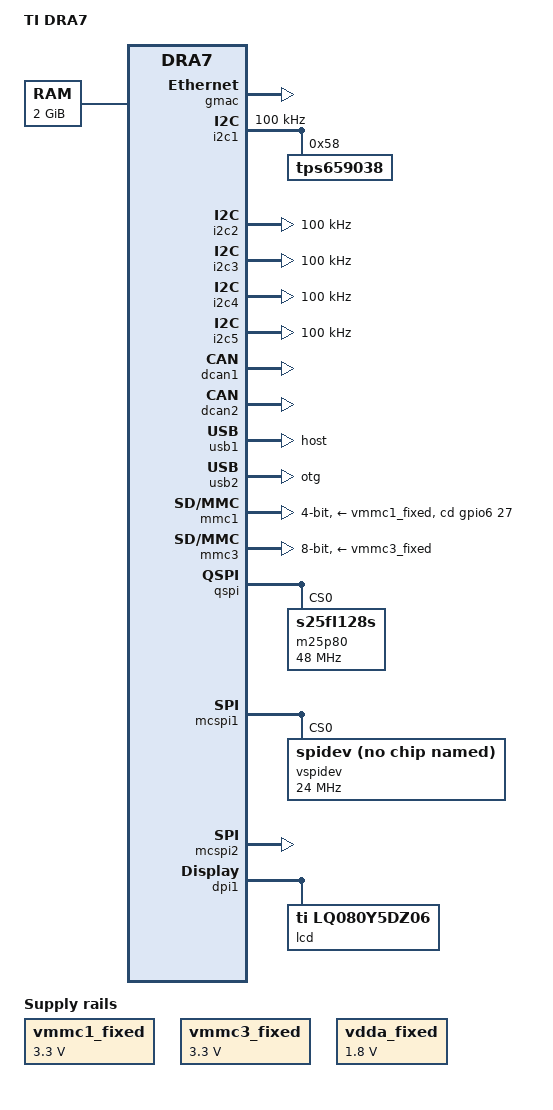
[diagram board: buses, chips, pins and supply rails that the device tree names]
/*
 * Copyright (C) 2013 Texas Instruments Incorporated - http://www.ti.com/
 *
 * This program is free software; you can redistribute it and/or modify
 * it under the terms of the GNU General Public License version 2 as
 * published by the Free Software Foundation.
 */
/dts-v1/;

/*
 * Memory is reserved for ipu1 for rearview camera
 */
/memreserve/ 0x8E000000 0x1000000;
/memreserve/ 0xA0000000 0x1800000;

/include/ "dra7.dtsi"

/ {
	model = "TI DRA7";
	compatible = "ti,dra7-evm", "ti,dra7";

	cpus {
		cpu@0 {
			cpu0-supply = <&abb_mpu>;
		};
	};

	memory {
		device_type = "memory";
		reg = <0x80000000 0x80000000>; /* 2048 MB */
	};

	vmmc1_fixed: fixedregulator-mmc1 {
		compatible = "regulator-fixed";
		regulator-name = "vmmc1_fixed";
		regulator-min-microvolt = <3300000>;
		regulator-max-microvolt = <3300000>;
	};

	vmmc3_fixed: fixedregulator-mmc3 {
		compatible = "regulator-fixed";
		regulator-name = "vmmc3_fixed";
		regulator-min-microvolt = <3300000>;
		regulator-max-microvolt = <3300000>;
	};

	vdda_fixed: fixedregulator-vdda {
		compatible = "regulator-fixed";
		regulator-name = "vdda_fixed";
		regulator-min-microvolt = <1800000>;
		regulator-max-microvolt = <1800000>;
	};

	ocp {
		gpu: gpu@0x56000000 {
			gpu-supply = <&abb_gpu>;
		};
	};

	display_skipinit {
		skip_init =<1>;
	};

	sound {
		compatible = "ti,dra7-evm-sound";
		ti,model = "dra7evm";
		ti,always-on;

		/* Audio routing */
		ti,audio-routing =
			"LINE1L", "Line In",
			"LINE1R", "Line In",
			"MIC3L", "Mic Bias 2V",
			"MIC3R", "Mic Bias 2V",
			"Mic Bias 2V", "Main Mic",
			"Headphone", "HPLOUT",
			"Headphone", "HPROUT",
			"Line Out", "LLOUT",
			"Line Out", "RLOUT",
			"J3A LINE1L", "JAMR3 Stereo Aux In",
			"J3A LINE1R", "JAMR3 Stereo Aux In",
			"J3B LINE1L", "JAMR3 Mono Mic 1",
			"J3B LINE1R", "JAMR3 Mono Mic 2",
			"JAMR3 Line Out 1", "J3A LLOUT",
			"JAMR3 Line Out 1", "J3A RLOUT",
			"JAMR3 Line Out 2", "J3B LLOUT",
			"JAMR3 Line Out 2", "J3B RLOUT",
			"JAMR3 Line Out 3", "J3C LLOUT",
			"JAMR3 Line Out 3", "J3C RLOUT";

		/* Bluetooth */
		ti,bt-cpu = <&mcasp7>;
		ti,bt-bclk-freq = <512000>;
	};

};

&dra7_pmx_core {
        pinctrl-names = "default";
        pinctrl-0 = <
		&atl_pins
		&mcasp3_pins
		&mcasp6_pins
		&mcasp7_pins
		&mcasp8_pins
		&vout1_pins
		&usb_pins
		&irq_pins
		&qspi_pins
	>;

	i2c1_pins: pinmux_i2c1_pins {
		pinctrl-single,pins = <
			0x400 0x60000	/* i2c1_sda */
			0x404 0x60000	/* i2c1_scl */
		>;
	};

	atl_pins: pinmux_atl_pins {
		pinctrl-single,pins = <
			0x298 0x00000005	/* xref_clk1.atl_clk1 OUTPUT | MODE5 */
			0x29c 0x00000005	/* xref_clk2.atl_clk2 OUTPUT | MODE5 */
		>;
	};

	mcasp3_pins: pinmux_mcasp3_pins {
		pinctrl-single,pins = <
			0x324 0x00000180	/* mcasp3_aclkx.mcasp3_aclkx OUTPUT | MODE0 */
			0x328 0x00000180	/* mcasp3_fsx.mcasp3_fsx OUTPUT | MODE0 */
			0x32c 0x00000180	/* mcasp3_axr0.mcasp3_axr0 OUTPUT | MODE0 */
			0x330 0x00040160	/* mcasp3_axr1.mcasp3_axr1 INPUT | MODE0 */
		>;
	};

	mcasp6_pins: pinmux_mcasp6_pins {
		pinctrl-single,pins = <
			0x2d4 0x000001a1	/* mcasp1_axr8.mcasp6_axr0 OUTPUT | MODE1 */
			0x2d8 0x000401a1	/* mcasp1_axr9.mcasp6_axr1 INPUT | MODE 1 */
			0x2dc 0x000001a1	/* mcasp1_axr10.mcasp6_clkx OUTPUT | MODE1 */
			0x2e0 0x000001a1	/* mcasp1_axr11.mcasp6_fsx OUTPUT | MODE1 */
		>;
	};

	mcasp7_pins: pinmux_mcasp7_pins {
		pinctrl-single,pins = <
			0x2e4 0x000401a1	/* mcasp1_axr12.mcasp7_axr0 INPUT | MODE 1 */
			0x2e8 0x000001a1	/* mcasp1_axr13.mcasp7_axr1 OUTPUT | MODE 1 */
			0x2ec 0x000401a1	/* mcasp1_axr14.mcasp7_clkx INPUT | MODE1 */
			0x2f0 0x000401a1	/* mcasp1_axr15.mcasp7_fsx INPUT | MODE1 */
		>;
	};

	mcasp8_pins: pinmux_mcasp8_pins {
		pinctrl-single,pins = <
			0x2fc 0x00040001	/* mcasp2_aclkr.mcasp8_axr2 OUTPUT | MODE1 */
		>;
	};

	irq_pins: pinmux_irq_pins {
                pinctrl-single,pins = <
			0x420	0x1	/* Wakeup2 INPUT | MODE1 */
                >;
        };

	usb_pins: pinmux_usb_pins {
                pinctrl-single,pins = <
			0x280	0xc000e	/* DRV1_VBUS SLEW | PULLDEN | MODE14 */
			0x284	0xc000e	/* DRV2_VBUS SLEW | PULLDEN | MODE14 */
                >;
        };

	i2c2_pins: pinmux_i2c2_pins {
                pinctrl-single,pins = <
			0x408	0x60000	/* i2c2_sda INPUT | MODE0 */
			0x40C	0x60000	/* i2c2_scl INPUT | MODE0 */
                >;
        };

	vout1_pins: pinmux_vout1_pins {
		pinctrl-single,pins = <
			0x1C8	0x0	/* vout1_clk OUTPUT | MODE0 */
			0x1CC	0x0	/* vout1_de OUTPUT | MODE0 */
			0x1D0	0x0	/* vout1_fld OUTPUT | MODE0 */
			0x1D4	0x0	/* vout1_hsync OUTPUT | MODE0 */
			0x1D8	0x0	/* vout1_vsync OUTPUT | MODE0 */
			0x1DC	0x0	/* vout1_d0 OUTPUT | MODE0 */
			0x1E0	0x0	/* vout1_d1 OUTPUT | MODE0 */
			0x1E4	0x0	/* vout1_d2 OUTPUT | MODE0 */
			0x1E8	0x0	/* vout1_d3 OUTPUT | MODE0 */
			0x1EC	0x0	/* vout1_d4 OUTPUT | MODE0 */
			0x1F0	0x0	/* vout1_d5 OUTPUT | MODE0 */
			0x1F4	0x0	/* vout1_d6 OUTPUT | MODE0 */
			0x1F8	0x0	/* vout1_d7 OUTPUT | MODE0 */
			0x1FC	0x0	/* vout1_d8 OUTPUT | MODE0 */
			0x200	0x0	/* vout1_d9 OUTPUT | MODE0 */
			0x204	0x0	/* vout1_d10 OUTPUT | MODE0 */
			0x208	0x0	/* vout1_d11 OUTPUT | MODE0 */
			0x20C	0x0	/* vout1_d12 OUTPUT | MODE0 */
			0x210	0x0	/* vout1_d13 OUTPUT | MODE0 */
			0x214	0x0	/* vout1_d14 OUTPUT | MODE0 */
			0x218	0x0	/* vout1_d15 OUTPUT | MODE0 */
			0x21C	0x0	/* vout1_d16 OUTPUT | MODE0 */
			0x220	0x0	/* vout1_d17 OUTPUT | MODE0 */
			0x224	0x0	/* vout1_d18 OUTPUT | MODE0 */
			0x228	0x0	/* vout1_d19 OUTPUT | MODE0 */
			0x22C	0x0	/* vout1_d20 OUTPUT | MODE0 */
			0x230	0x0	/* vout1_d21 OUTPUT | MODE0 */
			0x234	0x0	/* vout1_d22 OUTPUT | MODE0 */
			0x238	0x0	/* vout1_d23 OUTPUT | MODE0 */
		>;
	};

	cpsw_default_pins: pinmux_cpsw_default_pins {
		pinctrl-single,pins = <
			/* Slave 1 */
			0x250	0x0 /* rgmii1_tclk PIN_OUTPUT | MUX_MODE0 */
			0x254	0x0 /* rgmii1_tctl PIN_OUTPUT | MUX_MODE0 */
			0x258	0x0 /* rgmii1_td3 PIN_OUTPUT | MUX_MODE0 */
			0x25c	0x0 /* rgmii1_td2 PIN_OUTPUT | MUX_MODE0 */
			0x260	0x0 /* rgmii1_td1 PIN_OUTPUT | MUX_MODE0 */
			0x264	0x0 /* rgmii1_td0 PIN_OUTPUT | MUX_MODE0 */
			0x268	0x00040000 /* rgmii1_rclk PIN_INPUT | MUX_MODE0 */
			0x26c	0x00040000 /* rgmii1_rctl PIN_INPUT | MUX_MODE0 */
			0x270	0x00040000 /* rgmii1_rd3 PIN_INPUT | MUX_MODE0 */
			0x274	0x00040000 /* rgmii1_rd2 PIN_INPUT | MUX_MODE0 */
			0x278	0x00040000 /* rgmii1_rd1 PIN_INPUT | MUX_MODE0 */
			0x27c	0x00040000 /* rgmii1_rd0 PIN_INPUT | MUX_MODE0 */

			/* Slave 2 */
			0x198	0x3 /* rgmii2_tclk PIN_OUTPUT | MUX_MODE3 */
			0x19c	0x3 /* rgmii2_tctl PIN_OUTPUT | MUX_MODE3 */
			0x1a0	0x3 /* rgmii2_td3 PIN_OUTPUT | MUX_MODE3 */
			0x1a4	0x3 /* rgmii2_td2 PIN_OUTPUT | MUX_MODE3 */
			0x1a8	0x3 /* rgmii2_td1 PIN_OUTPUT | MUX_MODE3 */
			0x1ac	0x3 /* rgmii2_td0 PIN_OUTPUT | MUX_MODE3 */
			0x1b0	0x00040003 /* rgmii2_rclk PIN_INPUT | MUX_MODE3 */
			0x1b4	0x00040003 /* rgmii2_rctl PIN_INPUT | MUX_MODE3 */
			0x1b8	0x00040003 /* rgmii2_rd3 PIN_INPUT | MUX_MODE3 */
			0x1bc	0x00040003 /* rgmii2_rd2 PIN_INPUT | MUX_MODE3 */
			0x1c0	0x00040003 /* rgmii2_rd1 PIN_INPUT | MUX_MODE3 */
			0x1c4	0x00040003 /* rgmii2_rd0 PIN_INPUT | MUX_MODE3 */
				>;
		};

	davinci_mdio_default_pins: pinmux_davinci_mdio_default_pins {
		pinctrl-single,pins = <
			/* MDIO */
			0x23c	0x30000 /* mdio_data PIN_OUTPUT_PULLUP | MUX_MODE0 */
			0x240	0x70000 /* mdio_clk PIN_INPUT_PULLUP | MUX_MODE0 */
				>;
		};

	dcan1_pins: pinmux_dcan1_pins {
		pinctrl-single,pins = <
			0x3d0	0x00000000	/* DCAN1_TX: MODE0 */
			0x3d4	0x00060000	/* DCAN1_RX: MODE0 | INPUTENABLE | PULLUP */
		>;
	};

	dcan2_pins: pinmux_dcan2_pins {
		pinctrl-single,pins = <
			0x288	0x00000002	/* DCAN2_TX: MODE2 */
			0x28C	0x00060002	/* DCAN2_RX: MODE2 | INPUTENABLE | PULLUP */
		>;
	};

	mmc1_pins: pinmux_mmc1_pins {
		pinctrl-single,pins = <
			0x0354   0x00060000 /* mmc1_clk */
			0x0358   0x00060000 /* mmc1_cmd */
			0x035C   0x00060000 /* mmc1_dat0 */
			0x0360   0x00060000 /* mmc1_dat1 */
			0x0364   0x00060000 /* mmc1_dat2 */
			0x0368   0x00060000 /* mmc1_dat3 */
			0x036C	 0x0004000E	/* mmc1_sdcd */
		>;
	};

	mmc3_pins: pinmux_mmc3_pins {
		pinctrl-single,pins = <
			0x037C   0x00060000 /* mmc3_clk */
			0x0380   0x00060000 /* mmc3_cmd */
			0x0384   0x00060000 /* mmc3_dat0 */
			0x0388   0x00060000 /* mmc3_dat1 */
			0x038C   0x00060000 /* mmc3_dat2 */
			0x0390   0x00060000 /* mmc3_dat3 */
			0x0394   0x00060000 /* mmc3_dat4 */
			0x0398   0x00060000 /* mmc3_dat5 */
			0x039C   0x00060000 /* mmc3_dat6 */
			0x03A0   0x00060000 /* mmc3_dat7 */
		>;
	};

	qspi_pins: pinmux_qspi_pins {
		pinctrl-single,pins = <
			0x074   0x00040001 /* qspi_rtclk */
			0x078   0x00040001 /* qspi_d3 */
			0x07C   0x00040001 /* qspi_d2 */
			0x080   0x00040001 /* qspi_d0 */
			0x084   0x00040001 /* qspi_d1 */
			0x088   0x00040001 /* qspi_sclk */
			0x04C   0x00040001 /* qspi_cs2 */
			0x050   0x00040001 /* qspi_cs3 */
			0x0B8   0x00060001 /* qspi_cs0 */
			0x0BC   0x00060001 /* qspi_cs1 */
		>;
	};

	mcspi1_pins: pinmux_mcspi1_pins {
		pinctrl-single,pins = <
			0x3a4 0x40000	/* spi2_clk */
			0x3a8 0x40000	/* spi2_d1 */
			0x3ac 0x40000	/* spi2_d0 */
			0x3b0 0xc0000	/* spi2_cs0 */
			0x3b4 0xc0000	/* spi2_cs1 */
			0x3bc 0xe0006	/* spi2_cs3 */
		>;
	};

	mcspi2_pins: pinmux_mcspi2_pins {
		pinctrl-single,pins = <
			0x3c0 0x40000	/* spi2_sclk */
			0x3c4 0xc0000	/* spi2_d1 */
			0x3c8 0xc0000	/* spi2_d1 */
			0x3cc 0xe0000	/* spi2_cs0 */
		>;
	};
};

&gmac {
	status="okay";
	pinctrl-names = "default";
	pinctrl-0 = <&cpsw_default_pins>;
	dual_emac = <1>;
};

&davinci_mdio {
	pinctrl-names = "default";
	pinctrl-0 = <&davinci_mdio_default_pins>;
};

&cpsw_emac0 {
	phy_id = <&davinci_mdio>, <2>;
};

&cpsw_emac1 {
	phy_id = <&davinci_mdio>, <3>;
};

&i2c1 {
	clock-frequency = <100000>;
    pinctrl-0 = <&i2c1_pins>;
	status = "okay";

	tps659038: tps659038@58 {
		reg = <0x58>;
	};
};

/include/ "tps659038.dtsi"

&i2c2 {
        pinctrl-names = "default";
        pinctrl-0 = <&i2c2_pins>;

	clock-frequency = <100000>;
};

&i2c3 {
	clock-frequency = <100000>;
};

&i2c4 {
	clock-frequency = <100000>;
};

&i2c5 {
	clock-frequency = <100000>;
};

&dcan1 {
	pinctrl-names = "default";
	pinctrl-0 = <&dcan1_pins>;
	status = "okay";
};

&dcan2 {
	pinctrl-names = "default";
	pinctrl-0 = <&dcan2_pins>;
	status = "okay";
};

&usb1 {
	dr_mode = "host";
};

&usb2 {
	dr_mode = "otg";
};

&mmc1 {
	pinctrl-names = "default";
	pinctrl-0 = <&mmc1_pins>;
	vmmc-supply = <&vmmc1_fixed>;
	bus-width = <4>;
	cd-gpios = <&gpio6 27 0>;
};

&mmc3 {
	pinctrl-names = "default";
	pinctrl-0 = <&mmc3_pins>;
	vmmc-supply = <&vmmc3_fixed>;
	bus-width = <8>;
	ti,non-removable; 
};

&qspi {
	spi-max-frequency = <48000000>;
	num-cs = <14>;
        m25p80@0 {
                compatible = "s25fl128s";
                spi-max-frequency = <48000000>;
                reg = <0>;
		spi-cpol;
		spi-cpha;
	};
};

&mcspi1 {
        status = "okay";
	pinctrl-names = "default";
	pinctrl-0 = <&mcspi1_pins>;

	vspidev@0 {
		compatible = "spidev";
		spi-max-frequency = <24000000>;
		reg = <0>;
	};

};

&mcspi2 {
        status = "okay";
	pinctrl-names = "default";
	pinctrl-0 = <&mcspi2_pins>;
};

&dpi1 {
    lcd {
        compatible = "ti,lq080y5dz06";
        data-lines = <24>;
    };   
};

